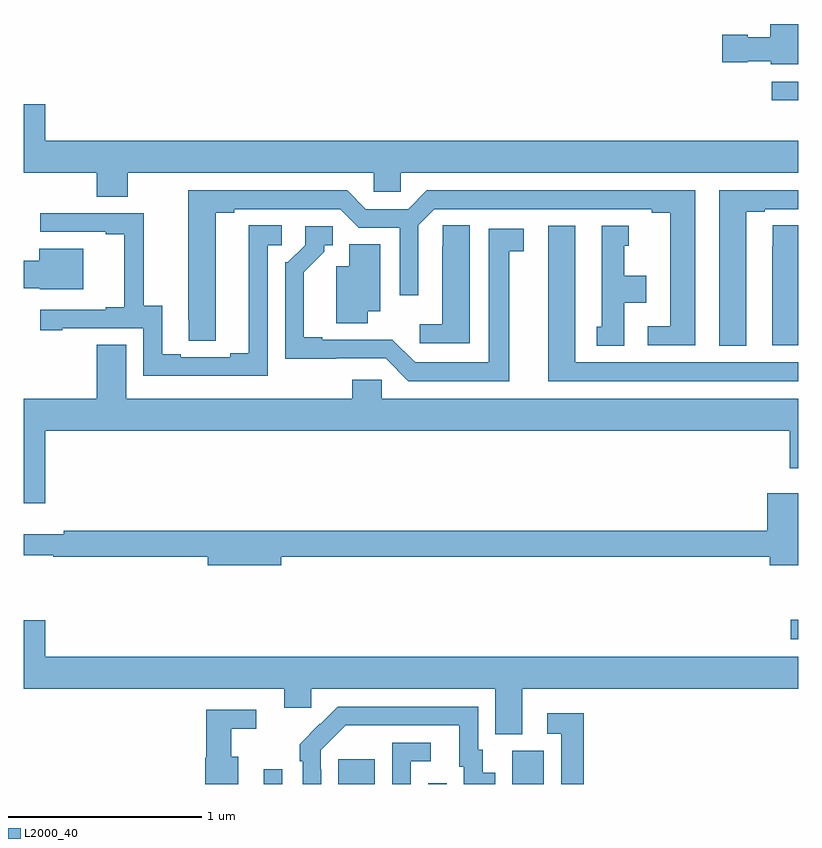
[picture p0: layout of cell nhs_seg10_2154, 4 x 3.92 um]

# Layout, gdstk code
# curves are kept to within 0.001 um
import gdstk
lib = gdstk.Library(unit=1e-6, precision=1e-09)
def R(c, l, rs):  # rectangles x0, y0, x1, y1
    for r in rs: c.add(gdstk.rectangle(r[:2], r[2:], *l))
def P(c, l, *ps):  # polygons
    for p in ps: c.add(gdstk.Polygon(p, *l))
L2000_40 = (2000, 40)

nhs_seg10_2154 = lib.new_cell('nhs_seg10_2154')
R(nhs_seg10_2154, L2000_40, [(226.239,1290.5,226.335,1290.577), (226.625,1290.5,226.813,1290.628), (227.088,1290.5,227.184,1290.505), (227.522,1290.5,227.686,1290.672), (228.96,1291.248,229,1291.349), (228.861,1294.029,229,1294.125)])
P(nhs_seg10_2154, L2000_40, [(229,1294.423),(228.854,1294.423),(228.854,1294.354),(228.738,1294.354),(228.738,1294.367),(228.606,1294.367),(228.606,1294.225),(228.738,1294.225),(228.738,1294.232),(228.858,1294.232),(228.858,1294.214),(229,1294.214)],
  [(225.537,1293.656),(226.809,1293.656),(226.809,1293.558),(226.947,1293.558),(226.947,1293.656),(229,1293.656),(229,1293.82),(225.112,1293.82),(225.112,1294.009),(225,1294.009),(225,1293.656),(225.377,1293.656),(225.377,1293.532),(225.537,1293.532)],
  [(228.73,1293.453),(228.826,1293.453),(228.826,1293.468),(229,1293.468),(229,1293.564),(228.59,1293.564),(228.59,1292.761),(228.73,1292.761)],
  [(228.466,1293.564),(227.081,1293.564),(226.985,1293.468),(226.767,1293.468),(226.671,1293.564),(225.851,1293.564),(225.852,1292.788),(225.991,1292.788),(225.991,1293.448),(226.087,1293.448),(226.087,1293.468),(226.635,1293.468),(226.731,1293.372),(226.941,1293.372),(226.941,1293.024),(227.037,1293.024),(227.037,1293.384),(227.121,1293.468),(228.242,1293.468),(228.242,1293.448),(228.338,1293.448),(228.338,1292.862),(228.222,1292.862),(228.222,1292.766),(228.466,1292.766)],
  [(226.26,1293.282),(226.333,1293.282),(226.333,1293.383),(226.163,1293.383),(226.163,1292.723),(226.067,1292.723),(226.067,1292.703),(225.811,1292.703),(225.811,1292.718),(225.715,1292.718),(225.715,1292.969),(225.621,1292.969),(225.621,1293.447),(225.087,1293.447),(225.087,1293.351),(225.425,1293.351),(225.425,1293.339),(225.521,1293.339),(225.521,1292.962),(225.425,1292.962),(225.425,1292.949),(225.087,1292.949),(225.087,1292.841),(225.199,1292.841),(225.199,1292.853),(225.618,1292.853),(225.618,1292.607),(226.26,1292.607)],
  [(229,1293.383),(228.867,1293.383),(228.867,1293.275),(228.866,1293.275),(228.866,1292.765),(229,1292.765)],
  [(227.302,1293.383),(227.163,1293.383),(227.163,1293.275),(227.162,1293.275),(227.162,1292.872),(227.046,1292.872),(227.046,1292.775),(227.302,1292.775)],
  [(229,1292.676),(227.848,1292.676),(227.848,1293.382),(227.708,1293.382),(227.708,1292.58),(229,1292.58)],
  [(228.1,1292.984),(228.214,1292.984),(228.214,1293.124),(228.1,1293.124),(228.1,1293.279),(228.124,1293.279),(228.124,1293.382),(227.984,1293.382),(227.984,1292.859),(227.96,1292.859),(227.96,1292.761),(228.1,1292.761)],
  [(227.506,1293.25),(227.581,1293.25),(227.581,1293.366),(227.402,1293.366),(227.402,1292.676),(227.022,1292.676),(226.904,1292.794),(226.543,1292.793),(226.543,1292.806),(226.447,1292.806),(226.447,1293.142),(226.552,1293.247),(226.552,1293.282),(226.597,1293.282),(226.597,1293.378),(226.455,1293.378),(226.455,1293.282),(226.365,1293.192),(226.35,1293.192),(226.35,1292.696),(226.869,1292.697),(226.986,1292.58),(227.506,1292.58)],
  [(226.777,1292.939),(226.84,1292.939),(226.84,1293.287),(226.682,1293.287),(226.682,1293.172),(226.613,1293.172),(226.613,1292.878),(226.777,1292.878)],
  [(225.307,1293.262),(225.08,1293.262),(225.08,1293.201),(225,1293.201),(225,1293.059),(225.084,1293.059),(225.084,1293.053),(225.307,1293.053)],
  [(225.112,1292.324),(228.956,1292.324),(228.956,1292.13),(229,1292.13),(229,1292.488),(226.848,1292.488),(226.848,1292.586),(226.697,1292.586),(226.697,1292.488),(225.529,1292.488),(225.529,1292.768),(225.377,1292.768),(225.377,1292.488),(225,1292.488),(225,1291.95),(225.112,1291.95)],
  [(229,1292.002),(228.839,1292.002),(228.839,1291.808),(225.208,1291.808),(225.208,1291.789),(225,1291.789),(225,1291.68),(225.154,1291.68),(225.154,1291.672),(225.95,1291.672),(225.95,1291.63),(226.33,1291.63),(226.33,1291.672),(228.851,1291.672),(228.851,1291.628),(229,1291.628)],
  [(227.575,1290.992),(229,1290.992),(229,1291.156),(225.112,1291.156),(225.112,1291.345),(225,1291.345),(225,1290.992),(226.346,1290.992),(226.346,1290.894),(226.485,1290.894),(226.485,1290.992),(227.435,1290.992),(227.435,1290.757),(227.575,1290.757)],
  [(226.536,1290.575),(226.533,1290.575),(226.533,1290.675),(226.662,1290.804),(227.249,1290.804),(227.249,1290.588),(227.273,1290.588),(227.273,1290.5),(227.434,1290.5),(227.434,1290.559),(227.371,1290.559),(227.371,1290.678),(227.346,1290.678),(227.346,1290.9),(226.622,1290.9),(226.425,1290.705),(226.425,1290.617),(226.44,1290.617),(226.44,1290.5),(226.536,1290.5)],
  [(226.108,1290.64),(226.072,1290.64),(226.072,1290.785),(226.201,1290.785),(226.201,1290.882),(225.943,1290.882),(225.943,1290.636),(225.938,1290.636),(225.938,1290.5),(226.108,1290.5)],
  [(227.891,1290.865),(227.703,1290.865),(227.703,1290.759),(227.775,1290.759),(227.775,1290.5),(227.891,1290.5)],
  [(226.998,1290.618),(227.101,1290.618),(227.101,1290.714),(226.902,1290.714),(226.902,1290.5),(226.998,1290.5)])

lib.write_gds('nhs_seg10_2154.gds')
